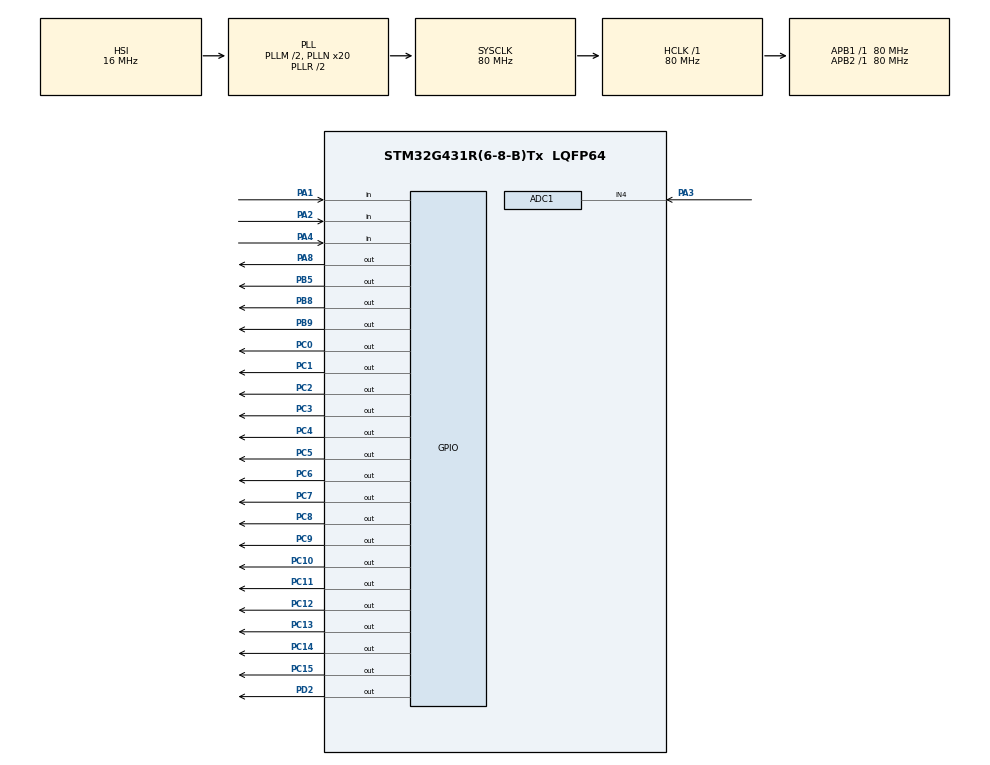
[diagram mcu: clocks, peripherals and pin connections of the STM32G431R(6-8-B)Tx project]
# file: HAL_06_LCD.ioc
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ADC1.Channel-0\#ChannelRegularConversion=ADC_CHANNEL_4
ADC1.NbrOfConversionFlag=1
ADC1.OffsetNumber-0\#ChannelRegularConversion=ADC_OFFSET_NONE
ADC1.Rank-0\#ChannelRegularConversion=1
ADC1.SamplingTime-0\#ChannelRegularConversion=ADC_SAMPLETIME_2CYCLES_5
ADC1.master=1
FREERTOS.Tasks01=BodyInduction,24,128,AppBodyInductio,As weak,NULL,Dynamic,NULL,NULL;lcd_debug,8,512,StartLcd_debug,As weak,NULL,Static,lcd_debugBuffer,lcd_debugControlBlock;cntclear,24,128,Appcntclear,As weak,NULL,Dynamic,NULL,NULL;TemperHumidiDec,16,128,StartTemperHumidiDec,As weak,NULL,Dynamic,NULL,NULL
FREERTOS.configENABLE_FPU=0
Mcu.Family=STM32G4
Mcu.Name=STM32G431R(6-8-B)Tx
Mcu.Package=LQFP64
NVIC.PriorityGroup=NVIC_PRIORITYGROUP_4
NVIC.TIM6_DAC_IRQn=true\:0\:0\:false\:false\:true\:false\:false\:true\:true
NVIC.TimeBase=TIM6_DAC_IRQn
NVIC.TimeBaseIP=TIM6
PA1.Signal=GPIO_Input
PA2.Signal=GPIO_Input
PA3.Mode=IN4-Single-Ended
PA3.Signal=ADC1_IN4
PA4.Signal=GPIO_Input
PA8.Signal=GPIO_Output
PB5.Signal=GPIO_Output
PB8-BOOT0.Signal=GPIO_Output
PB9.Signal=GPIO_Output
PC0.Signal=GPIO_Output
PC1.Signal=GPIO_Output
PC10.Signal=GPIO_Output
PC11.Signal=GPIO_Output
PC12.Signal=GPIO_Output
PC13.Signal=GPIO_Output
PC14-OSC32_IN.Signal=GPIO_Output
PC15-OSC32_OUT.Signal=GPIO_Output
PC2.Signal=GPIO_Output
PC3.Signal=GPIO_Output
PC4.Signal=GPIO_Output
PC5.Signal=GPIO_Output
PC6.Signal=GPIO_Output
PC7.Signal=GPIO_Output
PC8.Signal=GPIO_Output
PC9.Signal=GPIO_Output
PD2.Signal=GPIO_Output
PF0-OSC_IN.Mode=HSE-External-Oscillator
PF0-OSC_IN.Signal=RCC_OSC_IN
PF1-OSC_OUT.Mode=HSE-External-Oscillator
PF1-OSC_OUT.Signal=RCC_OSC_OUT
ProjectManager.HeapSize=0x200
ProjectManager.StackSize=0x400
ProjectManager.TargetToolchain=MDK-ARM V5
RCC.ADC12Freq_Value=80000000
RCC.AHBFreq_Value=80000000
RCC.APB1Freq_Value=80000000
RCC.APB1TimFreq_Value=80000000
RCC.APB2Freq_Value=80000000
RCC.APB2TimFreq_Value=80000000
RCC.CortexFreq_Value=80000000
RCC.EXTERNAL_CLOCK_VALUE=12288000
RCC.HCLKFreq_Value=80000000
RCC.HSE_VALUE=24000000
RCC.HSI48_VALUE=48000000
RCC.HSI_VALUE=16000000
RCC.LSE_VALUE=32768
RCC.PLLM=RCC_PLLM_DIV2
RCC.PLLN=20
RCC.SYSCLKFreq_VALUE=80000000
RCC.SYSCLKSource=RCC_SYSCLKSOURCE_PLLCLK
RCC.USBFreq_Value=80000000
RCC.VCOOutputFreq_Value=160000000
VP_FREERTOS_VS_CMSIS_V2.Mode=CMSIS_V2
VP_SYS_VS_DBSignals.Mode=DisableDeadBatterySignals
VP_SYS_VS_tim6.Mode=TIM6
board=custom

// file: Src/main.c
/* USER CODE BEGIN Header */
/**
  ******************************************************************************
  * @file           : main.c
  * @brief          : Main program body
  ******************************************************************************
  * @attention
  *
  * <h2><center>&copy; Copyright (c) 2021 STMicroelectronics.
  * All rights reserved.</center></h2>
  *
  * This software component is licensed by ST under BSD 3-Clause license,
  * the "License"; You may not use this file except in compliance with the
  * License. You may obtain a copy of the License at:
  *                        opensource.org/licenses/BSD-3-Clause
  *
  ******************************************************************************
  */
/* USER CODE END Header */

#include "main.h"
#include "cmsis_os.h"
#include "adc.h"
#include "gpio.h"

/* USER CODE BEGIN PV */
u8 bodyinfo=0;//0表示没戴，1表示戴了
u16 firedigital=0;
u8 firecnt=0;
u8 fireinfo=0;//0表示没火，1表示有火
char buffer[20];
/* USER CODE END PV */

void SystemClock_Config(void);
void MX_FREERTOS_Init(void);

/* USER CODE BEGIN 0 */
void AppBodyInductio(void *argument)
{
  /* USER CODE BEGIN AppBodyInductio */
  /* Infinite loop */
  for(;;)
  {
		bodyinfo=(GetlightInfo()&(~GetBodyWarmInfo()));//判断员工是否戴帽
//		(GetFireInfo()==1)?(fireinfo=0):(fireinfo=1);
		HAL_ADC_Start(&hadc1);
		firedigital=HAL_ADC_GetValue(&hadc1);
		if(firedigital<3000) firecnt++;
    osDelay(10);
  }
  /* USER CODE END AppBodyInductio */
}
/* USER CODE END Header_StartLcd_debug */
void StartLcd_debug(void *argument)
{
  /* USER CODE BEGIN StartLcd_debug */
  /* Infinite loop */
  for(;;)
  {
		sprintf(buffer,"bodyinfo:%1d          ",bodyinfo);
		LCD_DisplayStringLine(Line1, (uint8_t *)buffer);
		sprintf(buffer,"fireinfo:%1d          ",fireinfo);
		LCD_DisplayStringLine(Line2, (uint8_t *)buffer);
    osDelay(50);
  }
  /* USER CODE END StartLcd_debug */
}
void Appcntclear(void *argument)
{
  /* USER CODE BEGIN Appcntclear */
  /* Infinite loop */
  for(;;)
  {
		if(firecnt>10) fireinfo=1;
		else fireinfo=0;
		firecnt=0;
    osDelay(200);
  }
  /* USER CODE END Appcntclear */
}

/* USER CODE END 0 */

int main(void)
{

  /* MCU Configuration--------------------------------------------------------*/

  /* Reset of all peripherals, Initializes the Flash interface and the Systick. */
  HAL_Init();

  /* USER CODE BEGIN Init */
	HAL_Init();
  /* USER CODE END Init */

  /* Configure the system clock */
  SystemClock_Config();

  /* Initialize all configured peripherals */
  MX_GPIO_Init();
  MX_ADC1_Init();
  /* USER CODE BEGIN 2 */

	LCD_Init();
	led_open(0x00);

	LCD_SetBackColor(Black);
	LCD_SetTextColor(White);

	LCD_DisplayStringLine(Line0, (uint8_t *)"      Debugger      ");
	LCD_DisplayStringLine(Line1, (uint8_t *)"                    ");
	LCD_DisplayStringLine(Line2, (uint8_t *)"                    ");
	LCD_DisplayStringLine(Line3, (uint8_t *)"                    ");
	LCD_DisplayStringLine(Line4, (uint8_t *)"                    ");
	LCD_DisplayStringLine(Line5, (uint8_t *)"                    ");
	LCD_DisplayStringLine(Line6, (uint8_t *)"                    ");
	LCD_DisplayStringLine(Line7, (uint8_t *)"                    ");
	LCD_DisplayStringLine(Line8, (uint8_t *)"                    ");
	LCD_DisplayStringLine(Line9, (uint8_t *)"                    ");
  /* USER CODE END 2 */

  /* Init scheduler */
  osKernelInitialize();  /* Call init function for freertos objects (in freertos.c) */
  MX_FREERTOS_Init();
  /* Start scheduler */
  osKernelStart();

  /* We should never get here as control is now taken by the scheduler */
  /* Infinite loop */
  while (1)
  {

  }
}

void SystemClock_Config(void)
{
  RCC_OscInitTypeDef RCC_OscInitStruct = {0};
  RCC_ClkInitTypeDef RCC_ClkInitStruct = {0};
  RCC_PeriphCLKInitTypeDef PeriphClkInit = {0};

  /** Configure the main internal regulator output voltage
  */
  HAL_PWREx_ControlVoltageScaling(PWR_REGULATOR_VOLTAGE_SCALE1);
  /** Initializes the CPU, AHB and APB busses clocks
  */
  RCC_OscInitStruct.OscillatorType = RCC_OSCILLATORTYPE_HSI;
  RCC_OscInitStruct.HSIState = RCC_HSI_ON;
  RCC_OscInitStruct.HSICalibrationValue = RCC_HSICALIBRATION_DEFAULT;
  RCC_OscInitStruct.PLL.PLLState = RCC_PLL_ON;
  RCC_OscInitStruct.PLL.PLLSource = RCC_PLLSOURCE_HSI;
  RCC_OscInitStruct.PLL.PLLM = RCC_PLLM_DIV2;
  RCC_OscInitStruct.PLL.PLLN = 20;
  RCC_OscInitStruct.PLL.PLLP = RCC_PLLP_DIV2;
  RCC_OscInitStruct.PLL.PLLQ = RCC_PLLQ_DIV2;
  RCC_OscInitStruct.PLL.PLLR = RCC_PLLR_DIV2;
  if (HAL_RCC_OscConfig(&RCC_OscInitStruct) != HAL_OK)
  {
    Error_Handler();
  }
  /** Initializes the CPU, AHB and APB busses clocks
  */
  RCC_ClkInitStruct.ClockType = RCC_CLOCKTYPE_HCLK|RCC_CLOCKTYPE_SYSCLK
                              |RCC_CLOCKTYPE_PCLK1|RCC_CLOCKTYPE_PCLK2;
  RCC_ClkInitStruct.SYSCLKSource = RCC_SYSCLKSOURCE_PLLCLK;
  RCC_ClkInitStruct.AHBCLKDivider = RCC_SYSCLK_DIV1;
  RCC_ClkInitStruct.APB1CLKDivider = RCC_HCLK_DIV1;
  RCC_ClkInitStruct.APB2CLKDivider = RCC_HCLK_DIV1;

  if (HAL_RCC_ClockConfig(&RCC_ClkInitStruct, FLASH_LATENCY_3) != HAL_OK)
  {
    Error_Handler();
  }
  /** Initializes the peripherals clocks
  */
  PeriphClkInit.PeriphClockSelection = RCC_PERIPHCLK_ADC12;
  PeriphClkInit.Adc12ClockSelection = RCC_ADC12CLKSOURCE_SYSCLK;
  if (HAL_RCCEx_PeriphCLKConfig(&PeriphClkInit) != HAL_OK)
  {
    Error_Handler();
  }
}

 /**
  * @brief  Period elapsed callback in non blocking mode
  * @note   This function is called  when TIM6 interrupt took place, inside
  * HAL_TIM_IRQHandler(). It makes a direct call to HAL_IncTick() to increment
  * a global variable "uwTick" used as application time base.
  * @param  htim : TIM handle
  * @retval None
  */
void HAL_TIM_PeriodElapsedCallback(TIM_HandleTypeDef *htim)
{
  if (htim->Instance == TIM6) {
    HAL_IncTick();
  }
}

void Error_Handler(void)
{
}

/************************ (C) COPYRIGHT STMicroelectronics *****END OF FILE****/

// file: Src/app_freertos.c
/* USER CODE BEGIN Header */
/**
  ******************************************************************************
  * File Name          : app_freertos.c
  * Description        : Code for freertos applications
  ******************************************************************************
  * @attention
  *
  * <h2><center>&copy; Copyright (c) 2024 STMicroelectronics.
  * All rights reserved.</center></h2>
  *
  * This software component is licensed by ST under Ultimate Liberty license
  * SLA0044, the "License"; You may not use this file except in compliance with
  * the License. You may obtain a copy of the License at:
  *                             www.st.com/SLA0044
  *
  ******************************************************************************
  */
/* USER CODE END Header */

#include "FreeRTOS.h"
#include "task.h"
#include "main.h"
#include "cmsis_os.h"

typedef StaticTask_t osStaticThreadDef_t;

/* USER CODE BEGIN Variables */
u8 led__ctrl=0x00;
/* USER CODE END Variables */
/* Definitions for BodyInduction */
osThreadId_t BodyInductionHandle;
const osThreadAttr_t BodyInduction_attributes = {
  .name = "BodyInduction",
  .priority = (osPriority_t) osPriorityNormal,
  .stack_size = 128 * 4
};
/* Definitions for lcd_debug */
osThreadId_t lcd_debugHandle;
uint32_t lcd_debugBuffer[ 512 ];
osStaticThreadDef_t lcd_debugControlBlock;
const osThreadAttr_t lcd_debug_attributes = {
  .name = "lcd_debug",
  .stack_mem = &lcd_debugBuffer[0],
  .stack_size = sizeof(lcd_debugBuffer),
  .cb_mem = &lcd_debugControlBlock,
  .cb_size = sizeof(lcd_debugControlBlock),
  .priority = (osPriority_t) osPriorityLow,
};
/* Definitions for cntclear */
osThreadId_t cntclearHandle;
const osThreadAttr_t cntclear_attributes = {
  .name = "cntclear",
  .priority = (osPriority_t) osPriorityNormal,
  .stack_size = 128 * 4
};
/* Definitions for TemperHumidiDec */
osThreadId_t TemperHumidiDecHandle;
const osThreadAttr_t TemperHumidiDec_attributes = {
  .name = "TemperHumidiDec",
  .priority = (osPriority_t) osPriorityBelowNormal,
  .stack_size = 128 * 4
};

void AppBodyInductio(void *argument);
void StartLcd_debug(void *argument);
void Appcntclear(void *argument);
void StartTemperHumidiDec(void *argument);

void MX_FREERTOS_Init(void); /* (MISRA C 2004 rule 8.1) */

void MX_FREERTOS_Init(void) {

  /* Create the thread(s) */
  /* creation of BodyInduction */
  BodyInductionHandle = osThreadNew(AppBodyInductio, NULL, &BodyInduction_attributes);

  /* creation of lcd_debug */
  lcd_debugHandle = osThreadNew(StartLcd_debug, NULL, &lcd_debug_attributes);

  /* creation of cntclear */
  cntclearHandle = osThreadNew(Appcntclear, NULL, &cntclear_attributes);

  /* creation of TemperHumidiDec */
  TemperHumidiDecHandle = osThreadNew(StartTemperHumidiDec, NULL, &TemperHumidiDec_attributes);

}

__weak void AppBodyInductio(void *argument)
{
  for(;;)
  {
    osDelay(1);
  }
}

__weak void StartLcd_debug(void *argument)
{
  for(;;)
  {
    osDelay(1);
  }
}

__weak void Appcntclear(void *argument)
{
  for(;;)
  {
    osDelay(1);
  }
}

__weak void StartTemperHumidiDec(void *argument)
{
  for(;;)
  {
    osDelay(1);
  }
}

/************************ (C) COPYRIGHT STMicroelectronics *****END OF FILE****/
